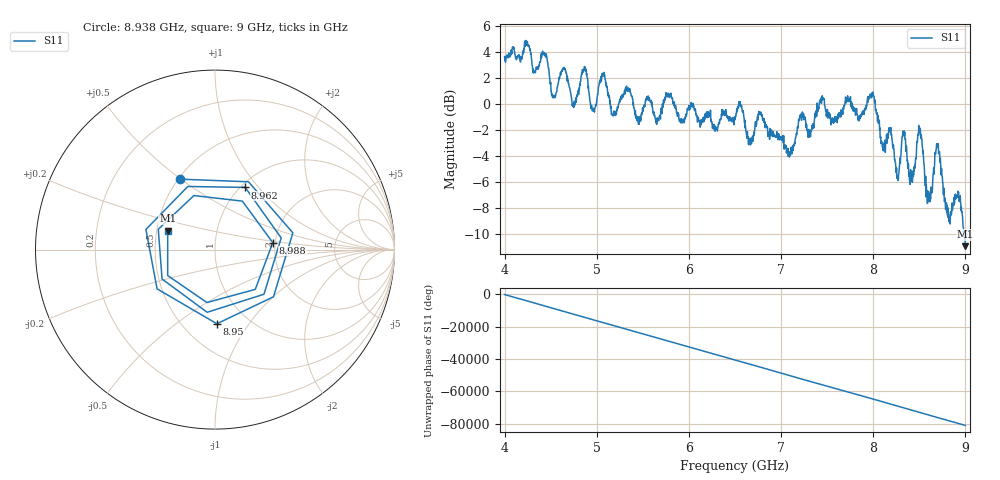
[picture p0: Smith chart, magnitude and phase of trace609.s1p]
! Created with skrf 1.8.0 (http://scikit-rf.org).
# Hz S RI R 50.0
!freq ReS11 ImS11
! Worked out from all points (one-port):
!   1601 points, 4 GHz to 9 GHz, reference 50 ohm
!   lowest |S11| = -10.9 dB at 9 GHz (marker M1), VSWR 1.79, Z = 28.6 + j6.53 ohm
!   |S11| at or under -10 dB: 8.98259 GHz to 8.985741 GHz (3.151 MHz wide, 0.0351 % of centre); 8.990711 GHz to end of sweep
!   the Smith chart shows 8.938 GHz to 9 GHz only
!   S11 on the Smith chart (normalised r, x): 8.938 GHz: 0.51, +0.50; 8.95 GHz: 0.72, -0.72; 8.962 GHz: 1.05, +0.85; 8.988 GHz: 1.94, +0.17; 9 GHz: 0.57, +0.13
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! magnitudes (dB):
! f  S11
! 4 GHz  3.6
! 4.431 GHz  3.9
! 4.534 GHz  0.5
! 4.625 GHz  2.6
! 4.753 GHz  -0.1
! 4.859 GHz  2.6
! 4.959 GHz  -0.4
! 5.069 GHz  2.2
! 5.25 GHz  0.4
! 5.875 GHz  -0.9
! 6.5 GHz  -1.2
! 7.125 GHz  -3.2
! 7.441 GHz  0.4
! 7.75 GHz  0.2
! 7.988 GHz  0.9
! 8.256 GHz  -5.7
! 8.328 GHz  -2.2
! 8.375 GHz  -4.9
! 8.419 GHz  -5.8
! 8.503 GHz  -1.8
! 8.597 GHz  -7.3
! 8.694 GHz  -3.3
! 8.809 GHz  -8.0
! 8.938 GHz  -7.2
! 8.95 GHz  -7.7
! 8.962 GHz  -8.3
! 8.988 GHz  -9.8
! 9 GHz  -10.9
